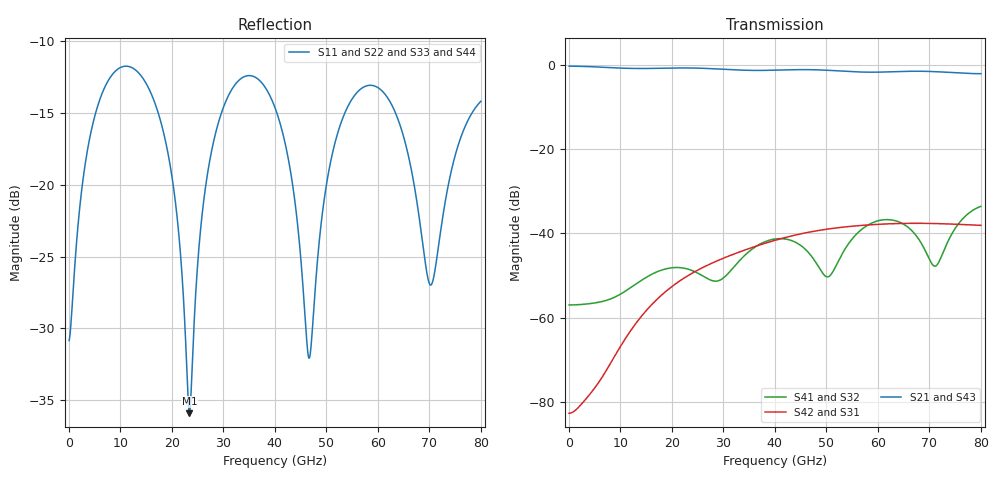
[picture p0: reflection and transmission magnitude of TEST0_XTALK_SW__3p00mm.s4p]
! TOUCHSTONE file generated by CST MICROWAVE STUDIO
! Date and time: Thu Oct 22 15:25:15 2026
! Project name: TEST0_XTALK_SW_3mm.cst
! Parameters = {L=3; L1=0.01; L2=0.076; PITCH=0.2; START_POSITION=0.1; W1=0.002; W2=0.022; gap=0.00415; interaxis=0.625; ln_thickness=0.000275; mtx=0.002; si_thickness=0.3; sio2_thickness=0.0047; w=1; wg=0.03; ws=0.01}
! Header version: 2024
! Port assignment regex: !\s*Touchstone port\s*([0-9]+)\s*=\s*(CST MWS port|CST DES external port|CST DES block port)\s*(.+)\s* \(\"(.*)\"\)(\s*mode\s*([0-9]+))?.*
! Touchstone port assignment:
! Touchstone port 1 = CST MWS port 1 ("")
! Touchstone port 2 = CST MWS port 2 ("")
! Touchstone port 3 = CST MWS port 3 ("")
! Touchstone port 4 = CST MWS port 4 ("")
# GHz S MA R 50
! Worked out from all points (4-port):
!   1000 points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, 80 MHz to 80 GHz, reference 50 ohm
!   strongest paths, dB at 80 MHz, 20.08 GHz, 40.08 GHz, 60.08 GHz, 80 GHz:
!     S21: -0.3, -0.7, -1.2, -1.7, -2.0
!     S43: -0.3, -0.7, -1.2, -1.7, -2.0
!     S42: -82.7, -52.6, -41.6, -37.8, -38.1
!     S31: -82.7, -52.6, -41.6, -37.8, -38.1
!     S41: -57.0, -48.1, -41.3, -37.0, -33.6
!     S32: -57.0, -48.1, -41.3, -37.0, -33.6
!   lowest |S11| = -35.9 dB at 23.44 GHz (marker M1), VSWR 1.03, Z = 51.6 - j0.13 ohm
!   |S11| at or under -10 dB: start of sweep to end of sweep
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0.08  0.02868 5.3  0.9713 -0.6  7.33e-05 176.5  0.001416 -2.4
      0.9713 -0.6  0.02867 5.3  0.001416 -2.4  7.315e-05 176.5
      7.328e-05 176.5  0.001416 -2.4  0.02868 5.3  0.9713 -0.6
      0.001416 -2.4  7.314e-05 176.5  0.9713 -0.6  0.02868 5.3
12.32  0.2559 -12.0  0.9133 -94.6  0.0007444 160.7  0.002342 -4.8
       0.9133 -94.6  0.256 -11.9  0.002342 -4.8  0.0007443 160.7
       0.0007444 160.7  0.002342 -4.8  0.2559 -12.0  0.9133 -94.6
       0.002342 -4.8  0.0007443 160.7  0.9133 -94.6  0.256 -11.9
23.44  0.01599 -4.5  0.9245 -178.5  0.003234 -38.0  0.003727 91.2
       0.9245 -178.5  0.01603 -4.6  0.003727 91.2  0.003234 -38.0
       0.003234 -38.0  0.003727 91.2  0.01599 -4.5  0.9245 -178.5
       0.003727 91.2  0.003234 -38.0  0.9245 -178.5  0.01603 -4.6
34.16  0.2387 2.7  0.8688 100.4  0.006353 135.6  0.005492 136.4
       0.8688 100.4  0.2387 2.7  0.005492 136.4  0.006354 135.6
       0.006353 135.6  0.005492 136.4  0.2387 2.7  0.8688 100.4
       0.005492 136.4  0.006354 135.6  0.8688 100.4  0.2387 2.7
46.8  0.02522 3.0  0.8827 5.7  0.01041 -86.2  0.00569 -130.5
      0.8827 5.7  0.02532 2.8  0.00569 -130.5  0.01041 -86.2
      0.01041 -86.2  0.005689 -130.5  0.02522 3.0  0.8827 5.7
      0.005689 -130.5  0.01041 -86.2  0.8827 5.7  0.02532 2.8
61.28  0.2082 -20.0  0.8279 -102.0  0.01297 18.2  0.01458 -175.5
       0.8279 -102.0  0.2081 -20.0  0.01458 -175.5  0.01296 18.1
       0.01297 18.2  0.01458 -175.5  0.2082 -20.0  0.8279 -102.0
       0.01458 -175.5  0.01296 18.1  0.8279 -102.0  0.2081 -20.0
80  0.1957 11.8  0.791 116.2  0.0125 50.0  0.02101 36.5
    0.791 116.2  0.1956 11.8  0.02101 36.5  0.0125 50.0
    0.0125 50.0  0.02101 36.5  0.1957 11.8  0.7909 116.2
    0.02101 36.5  0.0125 50.0  0.7909 116.2  0.1956 11.8
